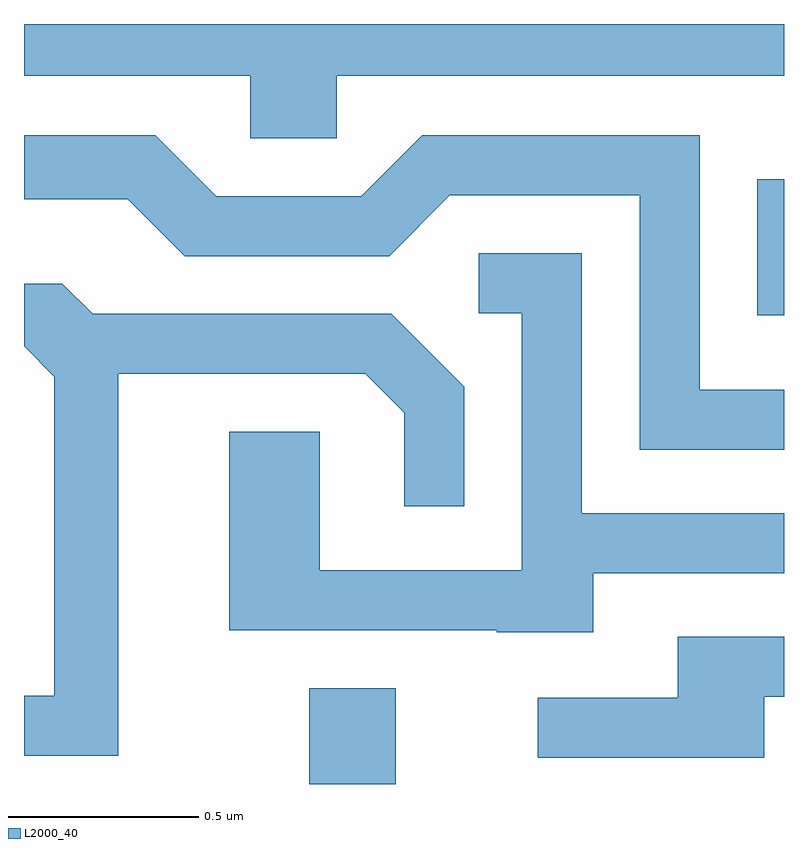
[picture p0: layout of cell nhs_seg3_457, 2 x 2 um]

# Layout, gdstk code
import gdstk
lib = gdstk.Library(unit=1e-6, precision=1e-09)
def R(c, l, rs):  # rectangles x0, y0, x1, y1
    for r in rs: c.add(gdstk.rectangle(r[:2], r[2:], *l))
def P(c, l, *ps):  # polygons
    for p in ps: c.add(gdstk.Polygon(p, *l))
L2000_40 = (2000, 40)

nhs_seg3_457 = lib.new_cell('nhs_seg3_457')
R(nhs_seg3_457, L2000_40, [(189.361,1161.892,189.589,1162.144), (190.541,1163.126,190.611,1163.483)])
P(nhs_seg3_457, L2000_40, [(189.434,1163.756),(190.611,1163.756),(190.611,1163.892),(188.611,1163.892),(188.611,1163.756),(189.206,1163.756),(189.206,1163.591),(189.434,1163.591)],
  [(190.611,1162.929),(190.389,1162.929),(190.389,1163.599),(189.659,1163.599),(189.499,1163.439),(189.117,1163.439),(188.957,1163.599),(188.611,1163.599),(188.611,1163.431),(188.884,1163.431),(189.034,1163.281),(189.572,1163.281),(189.732,1163.441),(190.231,1163.441),(190.231,1162.771),(190.611,1162.771)],
  [(190.109,1162.446),(190.611,1162.446),(190.611,1162.604),(190.079,1162.604),(190.079,1163.289),(189.808,1163.289),(189.808,1163.131),(189.921,1163.131),(189.921,1162.454),(189.389,1162.454),(189.389,1162.819),(189.151,1162.819),(189.151,1162.296),(189.855,1162.296),(189.855,1162.291),(190.109,1162.291)],
  [(188.859,1162.971),(189.509,1162.971),(189.611,1162.869),(189.611,1162.623),(189.769,1162.623),(189.769,1162.937),(189.577,1163.129),(188.792,1163.129),(188.712,1163.209),(188.611,1163.209),(188.611,1163.044),(188.691,1162.964),(188.691,1162.124),(188.611,1162.124),(188.611,1161.966),(188.859,1161.966)],
  [(190.559,1162.121),(190.611,1162.121),(190.611,1162.279),(190.331,1162.279),(190.331,1162.119),(189.963,1162.119),(189.963,1161.961),(190.559,1161.961)])

lib.write_gds('nhs_seg3_457.gds')
